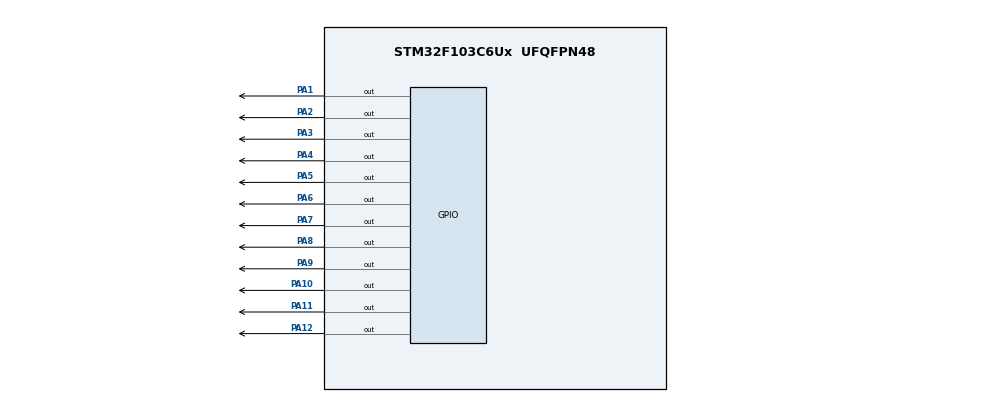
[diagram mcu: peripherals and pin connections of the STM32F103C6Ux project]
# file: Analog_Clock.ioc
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Mcu.Family=STM32F1
Mcu.Name=STM32F103C6Ux
Mcu.Package=UFQFPN48
NVIC.PriorityGroup=NVIC_PRIORITYGROUP_4
PA1.Signal=GPIO_Output
PA10.Signal=GPIO_Output
PA11.Signal=GPIO_Output
PA12.Signal=GPIO_Output
PA2.Signal=GPIO_Output
PA3.Signal=GPIO_Output
PA4.Signal=GPIO_Output
PA5.Signal=GPIO_Output
PA6.Signal=GPIO_Output
PA7.Signal=GPIO_Output
PA8.Signal=GPIO_Output
PA9.Signal=GPIO_Output
ProjectManager.HeapSize=0x200
ProjectManager.StackSize=0x400
ProjectManager.TargetToolchain=STM32CubeIDE
RCC.APB1Freq_Value=8000000
RCC.APB2Freq_Value=8000000
VP_SYS_VS_ND.Mode=No_Debug
board=custom

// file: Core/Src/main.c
/* USER CODE BEGIN Header */
/**
  ******************************************************************************
  * @file           : main.c
  * @brief          : Main program body
  ******************************************************************************
  * @attention
  *
  * <h2><center>&copy; Copyright (c) 2026 STMicroelectronics.
  * All rights reserved.</center></h2>
  *
  * This software component is licensed by ST under BSD 3-Clause license,
  * the "License"; You may not use this file except in compliance with the
  * License. You may obtain a copy of the License at:
  *                        opensource.org/licenses/BSD-3-Clause
  *
  ******************************************************************************
  */
/* USER CODE END Header */
#include "main.h"

/* USER CODE BEGIN PV */
uint16_t led_pins[12] = {GPIO_PIN_1, GPIO_PIN_2, GPIO_PIN_3, GPIO_PIN_4,
                         GPIO_PIN_5, GPIO_PIN_6, GPIO_PIN_7, GPIO_PIN_8,
                         GPIO_PIN_9, GPIO_PIN_10, GPIO_PIN_11, GPIO_PIN_12};
int hour = 0;
int minute = 0;
int second = 0;

/* USER CODE END PV */

void SystemClock_Config(void);
static void MX_GPIO_Init(void);
/* USER CODE BEGIN PFP */
void clearAllClock(void);
void setNumberOnClock(int num);
void clearNumberOnClock(int num);
/* USER CODE END PFP */

int main(void)
{

  /* MCU Configuration--------------------------------------------------------*/

  /* Reset of all peripherals, Initializes the Flash interface and the Systick. */
  HAL_Init();

  /* Configure the system clock */
  SystemClock_Config();

  /* Initialize all configured peripherals */
  MX_GPIO_Init();

  /* Infinite loop */
  while (1)
  {
	  /*
	  for (int i = 0; i < 12; i++) {
	  	  HAL_GPIO_WritePin(GPIOA, led_pins[i], GPIO_PIN_SET);
	  	  HAL_Delay(500);
	  	  HAL_GPIO_WritePin(GPIOA, led_pins[i], GPIO_PIN_RESET);
	  }
	  */
	  clearAllClock();

	  setNumberOnClock(hour % 12);
	  setNumberOnClock(minute / 5);
	  setNumberOnClock(second / 5);

	  second++;
	  if (second >= 60) {
		  second = 0;
	      minute++;
	  }
	  if (minute >= 60) {
	      minute = 0;
	      hour++;
	  }
	  if (hour >= 24) {
	      hour = 0;
	  }

	  HAL_Delay(100);

  }
}

void SystemClock_Config(void)
{
  RCC_OscInitTypeDef RCC_OscInitStruct = {0};
  RCC_ClkInitTypeDef RCC_ClkInitStruct = {0};

  /** Initializes the RCC Oscillators according to the specified parameters
  * in the RCC_OscInitTypeDef structure.
  */
  RCC_OscInitStruct.OscillatorType = RCC_OSCILLATORTYPE_HSI;
  RCC_OscInitStruct.HSIState = RCC_HSI_ON;
  RCC_OscInitStruct.HSICalibrationValue = RCC_HSICALIBRATION_DEFAULT;
  RCC_OscInitStruct.PLL.PLLState = RCC_PLL_NONE;
  if (HAL_RCC_OscConfig(&RCC_OscInitStruct) != HAL_OK)
  {
    Error_Handler();
  }
  /** Initializes the CPU, AHB and APB buses clocks
  */
  RCC_ClkInitStruct.ClockType = RCC_CLOCKTYPE_HCLK|RCC_CLOCKTYPE_SYSCLK
                              |RCC_CLOCKTYPE_PCLK1|RCC_CLOCKTYPE_PCLK2;
  RCC_ClkInitStruct.SYSCLKSource = RCC_SYSCLKSOURCE_HSI;
  RCC_ClkInitStruct.AHBCLKDivider = RCC_SYSCLK_DIV1;
  RCC_ClkInitStruct.APB1CLKDivider = RCC_HCLK_DIV1;
  RCC_ClkInitStruct.APB2CLKDivider = RCC_HCLK_DIV1;

  if (HAL_RCC_ClockConfig(&RCC_ClkInitStruct, FLASH_LATENCY_0) != HAL_OK)
  {
    Error_Handler();
  }
}

static void MX_GPIO_Init(void)
{
  GPIO_InitTypeDef GPIO_InitStruct = {0};

  /* GPIO Ports Clock Enable */
  __HAL_RCC_GPIOA_CLK_ENABLE();

  /*Configure GPIO pin Output Level */
  HAL_GPIO_WritePin(GPIOA, GPIO_PIN_1|GPIO_PIN_2|GPIO_PIN_3|GPIO_PIN_4
                          |GPIO_PIN_5|GPIO_PIN_6|GPIO_PIN_7|GPIO_PIN_8
                          |GPIO_PIN_9|GPIO_PIN_10|GPIO_PIN_11|GPIO_PIN_12, GPIO_PIN_RESET);

  /*Configure GPIO pins : PA1 PA2 PA3 PA4
                           PA5 PA6 PA7 PA8
                           PA9 PA10 PA11 PA12 */
  GPIO_InitStruct.Pin = GPIO_PIN_1|GPIO_PIN_2|GPIO_PIN_3|GPIO_PIN_4
                          |GPIO_PIN_5|GPIO_PIN_6|GPIO_PIN_7|GPIO_PIN_8
                          |GPIO_PIN_9|GPIO_PIN_10|GPIO_PIN_11|GPIO_PIN_12;
  GPIO_InitStruct.Mode = GPIO_MODE_OUTPUT_PP;
  GPIO_InitStruct.Pull = GPIO_NOPULL;
  GPIO_InitStruct.Speed = GPIO_SPEED_FREQ_LOW;
  HAL_GPIO_Init(GPIOA, &GPIO_InitStruct);

}

/* USER CODE BEGIN 4 */
void clearAllClock(void) {
    for (int i = 0; i < 12; i++) {
        HAL_GPIO_WritePin(GPIOA, led_pins[i], GPIO_PIN_SET);
    }
}

void setNumberOnClock(int num) {
    if (num >= 0 && num <= 11) {
        HAL_GPIO_WritePin(GPIOA, led_pins[num], GPIO_PIN_RESET);
    }
}

void clearNumberOnClock(int num) {
    if (num >= 0 && num <= 11) {
        HAL_GPIO_WritePin(GPIOA, led_pins[num], GPIO_PIN_SET);
    }
}
/* USER CODE END 4 */

void Error_Handler(void)
{
  __disable_irq();
  while (1)
  {
  }
}

/************************ (C) COPYRIGHT STMicroelectronics *****END OF FILE****/
